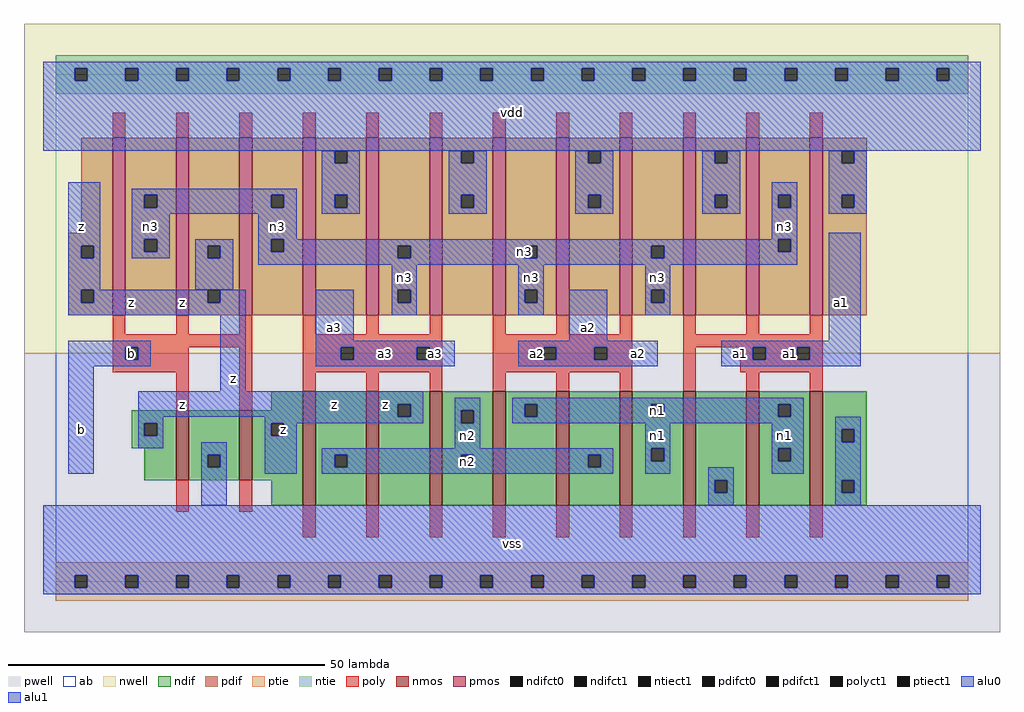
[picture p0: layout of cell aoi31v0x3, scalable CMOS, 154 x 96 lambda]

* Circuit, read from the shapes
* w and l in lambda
.subckt aoi31v0x3 a1 a2 a3 b n1 n2 n3 vdd vss z
M1 vss b z vss nfet w=11 l=2 m=2
M2 n2 a3 z vss nfet w=18 l=2 m=3
M3 n1 a2 n2 vss nfet w=18 l=2 m=3
M4 vss a1 n1 vss nfet w=18 l=2 m=3
M5 n3 b z vdd pfet w=28 l=2 m=3
M6 vdd a3 n3 vdd pfet w=28 l=2 m=3
M7 n3 a2 vdd vdd pfet w=28 l=2 m=3
M8 vdd a1 n3 vdd pfet w=28 l=2 m=3
.ends

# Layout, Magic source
magic
tech scmos
<< ab >>
rect 0 0 144 80
<< nwell >>
rect -5 36 149 88
<< pwell >>
rect -5 -8 149 36
<< poly >>
rect 9 70 11 74
rect 19 70 21 74
rect 29 70 31 74
rect 39 70 41 74
rect 49 70 51 74
rect 59 70 61 74
rect 69 70 71 74
rect 79 70 81 74
rect 89 70 91 74
rect 99 70 101 74
rect 109 70 111 74
rect 119 70 121 74
rect 9 39 11 42
rect 19 39 21 42
rect 29 39 31 42
rect 9 37 31 39
rect 9 35 11 37
rect 13 35 21 37
rect 9 33 21 35
rect 19 27 21 33
rect 29 27 31 37
rect 39 39 41 42
rect 49 39 51 42
rect 59 39 61 42
rect 39 37 61 39
rect 39 35 45 37
rect 47 35 57 37
rect 59 35 61 37
rect 39 33 61 35
rect 39 30 41 33
rect 49 30 51 33
rect 59 30 61 33
rect 69 39 71 42
rect 79 39 81 42
rect 89 39 91 42
rect 69 37 91 39
rect 69 35 77 37
rect 79 35 85 37
rect 87 35 91 37
rect 69 33 91 35
rect 69 30 71 33
rect 79 30 81 33
rect 89 30 91 33
rect 99 39 101 42
rect 109 39 111 42
rect 119 39 121 42
rect 99 37 121 39
rect 99 30 101 37
rect 108 35 110 37
rect 112 35 117 37
rect 119 35 121 37
rect 108 33 121 35
rect 109 30 111 33
rect 119 30 121 33
rect 19 11 21 16
rect 29 11 31 16
rect 39 7 41 12
rect 49 7 51 12
rect 59 7 61 12
rect 69 7 71 12
rect 79 7 81 12
rect 89 7 91 12
rect 99 7 101 12
rect 109 7 111 12
rect 119 7 121 12
<< ndif >>
rect 34 27 39 30
rect 12 25 19 27
rect 12 23 14 25
rect 16 23 19 25
rect 12 21 19 23
rect 14 16 19 21
rect 21 20 29 27
rect 21 18 24 20
rect 26 18 29 20
rect 21 16 29 18
rect 31 25 39 27
rect 31 23 34 25
rect 36 23 39 25
rect 31 16 39 23
rect 34 12 39 16
rect 41 20 49 30
rect 41 18 44 20
rect 46 18 49 20
rect 41 12 49 18
rect 51 28 59 30
rect 51 26 54 28
rect 56 26 59 28
rect 51 12 59 26
rect 61 27 69 30
rect 61 25 64 27
rect 66 25 69 27
rect 61 20 69 25
rect 61 18 64 20
rect 66 18 69 20
rect 61 12 69 18
rect 71 28 79 30
rect 71 26 74 28
rect 76 26 79 28
rect 71 12 79 26
rect 81 20 89 30
rect 81 18 84 20
rect 86 18 89 20
rect 81 12 89 18
rect 91 28 99 30
rect 91 26 94 28
rect 96 26 99 28
rect 91 21 99 26
rect 91 19 94 21
rect 96 19 99 21
rect 91 12 99 19
rect 101 16 109 30
rect 101 14 104 16
rect 106 14 109 16
rect 101 12 109 14
rect 111 28 119 30
rect 111 26 114 28
rect 116 26 119 28
rect 111 21 119 26
rect 111 19 114 21
rect 116 19 119 21
rect 111 12 119 19
rect 121 24 128 30
rect 121 22 124 24
rect 126 22 128 24
rect 121 16 128 22
rect 121 14 124 16
rect 126 14 128 16
rect 121 12 128 14
<< pdif >>
rect 4 55 9 70
rect 2 53 9 55
rect 2 51 4 53
rect 6 51 9 53
rect 2 46 9 51
rect 2 44 4 46
rect 6 44 9 46
rect 2 42 9 44
rect 11 61 19 70
rect 11 59 14 61
rect 16 59 19 61
rect 11 54 19 59
rect 11 52 14 54
rect 16 52 19 54
rect 11 42 19 52
rect 21 53 29 70
rect 21 51 24 53
rect 26 51 29 53
rect 21 46 29 51
rect 21 44 24 46
rect 26 44 29 46
rect 21 42 29 44
rect 31 61 39 70
rect 31 59 34 61
rect 36 59 39 61
rect 31 54 39 59
rect 31 52 34 54
rect 36 52 39 54
rect 31 42 39 52
rect 41 68 49 70
rect 41 66 44 68
rect 46 66 49 68
rect 41 61 49 66
rect 41 59 44 61
rect 46 59 49 61
rect 41 42 49 59
rect 51 53 59 70
rect 51 51 54 53
rect 56 51 59 53
rect 51 46 59 51
rect 51 44 54 46
rect 56 44 59 46
rect 51 42 59 44
rect 61 68 69 70
rect 61 66 64 68
rect 66 66 69 68
rect 61 61 69 66
rect 61 59 64 61
rect 66 59 69 61
rect 61 42 69 59
rect 71 53 79 70
rect 71 51 74 53
rect 76 51 79 53
rect 71 46 79 51
rect 71 44 74 46
rect 76 44 79 46
rect 71 42 79 44
rect 81 68 89 70
rect 81 66 84 68
rect 86 66 89 68
rect 81 61 89 66
rect 81 59 84 61
rect 86 59 89 61
rect 81 42 89 59
rect 91 53 99 70
rect 91 51 94 53
rect 96 51 99 53
rect 91 46 99 51
rect 91 44 94 46
rect 96 44 99 46
rect 91 42 99 44
rect 101 68 109 70
rect 101 66 104 68
rect 106 66 109 68
rect 101 61 109 66
rect 101 59 104 61
rect 106 59 109 61
rect 101 42 109 59
rect 111 61 119 70
rect 111 59 114 61
rect 116 59 119 61
rect 111 54 119 59
rect 111 52 114 54
rect 116 52 119 54
rect 111 42 119 52
rect 121 68 128 70
rect 121 66 124 68
rect 126 66 128 68
rect 121 61 128 66
rect 121 59 124 61
rect 126 59 128 61
rect 121 42 128 59
<< alu1 >>
rect -2 81 146 82
rect -2 79 3 81
rect 5 79 11 81
rect 13 79 19 81
rect 21 79 27 81
rect 29 79 35 81
rect 37 79 43 81
rect 45 79 51 81
rect 53 79 59 81
rect 61 79 67 81
rect 69 79 75 81
rect 77 79 83 81
rect 85 79 91 81
rect 93 79 99 81
rect 101 79 107 81
rect 109 79 115 81
rect 117 79 123 81
rect 125 79 131 81
rect 133 79 139 81
rect 141 79 146 81
rect -2 68 146 79
rect 2 53 7 63
rect 2 51 4 53
rect 6 51 7 53
rect 2 46 7 51
rect 2 44 4 46
rect 6 44 24 46
rect 26 44 30 46
rect 2 42 30 44
rect 2 37 15 38
rect 2 35 11 37
rect 13 35 15 37
rect 2 34 15 35
rect 2 17 6 34
rect 26 30 30 42
rect 41 38 47 46
rect 81 38 87 46
rect 122 38 127 55
rect 41 37 63 38
rect 41 35 45 37
rect 47 35 57 37
rect 59 35 63 37
rect 41 34 63 35
rect 73 37 95 38
rect 73 35 77 37
rect 79 35 85 37
rect 87 35 95 37
rect 73 34 95 35
rect 105 37 127 38
rect 105 35 110 37
rect 112 35 117 37
rect 119 35 127 37
rect 105 34 127 35
rect 13 28 58 30
rect 13 26 54 28
rect 56 26 58 28
rect 13 25 17 26
rect 13 23 14 25
rect 16 23 17 25
rect 13 21 17 23
rect 33 25 58 26
rect 33 23 34 25
rect 36 23 38 25
rect 33 17 38 23
rect -2 1 146 12
rect -2 -1 3 1
rect 5 -1 11 1
rect 13 -1 19 1
rect 21 -1 27 1
rect 29 -1 35 1
rect 37 -1 43 1
rect 45 -1 51 1
rect 53 -1 59 1
rect 61 -1 67 1
rect 69 -1 75 1
rect 77 -1 83 1
rect 85 -1 91 1
rect 93 -1 99 1
rect 101 -1 107 1
rect 109 -1 115 1
rect 117 -1 123 1
rect 125 -1 131 1
rect 133 -1 139 1
rect 141 -1 146 1
rect -2 -2 146 -1
<< ptie >>
rect 0 1 144 3
rect 0 -1 3 1
rect 5 -1 11 1
rect 13 -1 19 1
rect 21 -1 27 1
rect 29 -1 35 1
rect 37 -1 43 1
rect 45 -1 51 1
rect 53 -1 59 1
rect 61 -1 67 1
rect 69 -1 75 1
rect 77 -1 83 1
rect 85 -1 91 1
rect 93 -1 99 1
rect 101 -1 107 1
rect 109 -1 115 1
rect 117 -1 123 1
rect 125 -1 131 1
rect 133 -1 139 1
rect 141 -1 144 1
rect 0 -3 144 -1
<< ntie >>
rect 0 81 144 83
rect 0 79 3 81
rect 5 79 11 81
rect 13 79 19 81
rect 21 79 27 81
rect 29 79 35 81
rect 37 79 43 81
rect 45 79 51 81
rect 53 79 59 81
rect 61 79 67 81
rect 69 79 75 81
rect 77 79 83 81
rect 85 79 91 81
rect 93 79 99 81
rect 101 79 107 81
rect 109 79 115 81
rect 117 79 123 81
rect 125 79 131 81
rect 133 79 139 81
rect 141 79 144 81
rect 0 77 144 79
<< nmos >>
rect 19 16 21 27
rect 29 16 31 27
rect 39 12 41 30
rect 49 12 51 30
rect 59 12 61 30
rect 69 12 71 30
rect 79 12 81 30
rect 89 12 91 30
rect 99 12 101 30
rect 109 12 111 30
rect 119 12 121 30
<< pmos >>
rect 9 42 11 70
rect 19 42 21 70
rect 29 42 31 70
rect 39 42 41 70
rect 49 42 51 70
rect 59 42 61 70
rect 69 42 71 70
rect 79 42 81 70
rect 89 42 91 70
rect 99 42 101 70
rect 109 42 111 70
rect 119 42 121 70
<< polyct1 >>
rect 11 35 13 37
rect 45 35 47 37
rect 57 35 59 37
rect 77 35 79 37
rect 85 35 87 37
rect 110 35 112 37
rect 117 35 119 37
<< ndifct0 >>
rect 24 18 26 20
rect 44 18 46 20
rect 64 25 66 27
rect 64 18 66 20
rect 74 26 76 28
rect 84 18 86 20
rect 94 26 96 28
rect 94 19 96 21
rect 104 14 106 16
rect 114 26 116 28
rect 114 19 116 21
rect 124 22 126 24
rect 124 14 126 16
<< ndifct1 >>
rect 14 23 16 25
rect 34 23 36 25
rect 54 26 56 28
<< ntiect1 >>
rect 3 79 5 81
rect 11 79 13 81
rect 19 79 21 81
rect 27 79 29 81
rect 35 79 37 81
rect 43 79 45 81
rect 51 79 53 81
rect 59 79 61 81
rect 67 79 69 81
rect 75 79 77 81
rect 83 79 85 81
rect 91 79 93 81
rect 99 79 101 81
rect 107 79 109 81
rect 115 79 117 81
rect 123 79 125 81
rect 131 79 133 81
rect 139 79 141 81
<< ptiect1 >>
rect 3 -1 5 1
rect 11 -1 13 1
rect 19 -1 21 1
rect 27 -1 29 1
rect 35 -1 37 1
rect 43 -1 45 1
rect 51 -1 53 1
rect 59 -1 61 1
rect 67 -1 69 1
rect 75 -1 77 1
rect 83 -1 85 1
rect 91 -1 93 1
rect 99 -1 101 1
rect 107 -1 109 1
rect 115 -1 117 1
rect 123 -1 125 1
rect 131 -1 133 1
rect 139 -1 141 1
<< pdifct0 >>
rect 14 59 16 61
rect 14 52 16 54
rect 24 51 26 53
rect 34 59 36 61
rect 34 52 36 54
rect 44 66 46 68
rect 44 59 46 61
rect 54 51 56 53
rect 54 44 56 46
rect 64 66 66 68
rect 64 59 66 61
rect 74 51 76 53
rect 74 44 76 46
rect 84 66 86 68
rect 84 59 86 61
rect 94 51 96 53
rect 94 44 96 46
rect 104 66 106 68
rect 104 59 106 61
rect 114 59 116 61
rect 114 52 116 54
rect 124 66 126 68
rect 124 59 126 61
<< pdifct1 >>
rect 4 51 6 53
rect 4 44 6 46
rect 24 44 26 46
<< alu0 >>
rect 42 66 44 68
rect 46 66 48 68
rect 12 61 38 62
rect 12 59 14 61
rect 16 59 34 61
rect 36 59 38 61
rect 12 58 38 59
rect 42 61 48 66
rect 42 59 44 61
rect 46 59 48 61
rect 42 58 48 59
rect 62 66 64 68
rect 66 66 68 68
rect 62 61 68 66
rect 62 59 64 61
rect 66 59 68 61
rect 62 58 68 59
rect 82 66 84 68
rect 86 66 88 68
rect 82 61 88 66
rect 82 59 84 61
rect 86 59 88 61
rect 82 58 88 59
rect 102 66 104 68
rect 106 66 108 68
rect 102 61 108 66
rect 122 66 124 68
rect 126 66 128 68
rect 102 59 104 61
rect 106 59 108 61
rect 102 58 108 59
rect 113 61 117 63
rect 113 59 114 61
rect 116 59 117 61
rect 12 54 18 58
rect 32 54 38 58
rect 113 54 117 59
rect 122 61 128 66
rect 122 59 124 61
rect 126 59 128 61
rect 122 58 128 59
rect 12 52 14 54
rect 16 52 18 54
rect 12 51 18 52
rect 22 53 28 54
rect 22 51 24 53
rect 26 51 28 53
rect 22 46 28 51
rect 32 52 34 54
rect 36 53 114 54
rect 36 52 54 53
rect 32 51 54 52
rect 56 51 74 53
rect 76 51 94 53
rect 96 52 114 53
rect 116 52 117 54
rect 96 51 117 52
rect 32 50 117 51
rect 53 46 57 50
rect 53 44 54 46
rect 56 44 57 46
rect 53 42 57 44
rect 73 46 77 50
rect 93 46 97 50
rect 73 44 74 46
rect 76 44 77 46
rect 73 42 77 44
rect 93 44 94 46
rect 96 44 97 46
rect 93 42 97 44
rect 63 27 67 29
rect 63 25 64 27
rect 66 25 67 27
rect 72 28 118 29
rect 72 26 74 28
rect 76 26 94 28
rect 96 26 114 28
rect 116 26 118 28
rect 72 25 118 26
rect 23 20 27 22
rect 23 18 24 20
rect 26 18 27 20
rect 23 12 27 18
rect 63 21 67 25
rect 93 21 97 25
rect 42 20 88 21
rect 42 18 44 20
rect 46 18 64 20
rect 66 18 84 20
rect 86 18 88 20
rect 42 17 88 18
rect 93 19 94 21
rect 96 19 97 21
rect 93 17 97 19
rect 113 21 118 25
rect 113 19 114 21
rect 116 19 118 21
rect 103 16 107 18
rect 113 17 118 19
rect 123 24 127 26
rect 123 22 124 24
rect 126 22 127 24
rect 103 14 104 16
rect 106 14 107 16
rect 103 12 107 14
rect 123 16 127 22
rect 123 14 124 16
rect 126 14 127 16
rect 123 12 127 14
<< labels >>
rlabel alu0 15 56 15 56 6 n3
rlabel alu0 55 48 55 48 6 n3
rlabel alu0 35 56 35 56 6 n3
rlabel alu0 65 23 65 23 6 n2
rlabel alu0 75 48 75 48 6 n3
rlabel ndifct0 65 19 65 19 6 n2
rlabel alu0 95 23 95 23 6 n1
rlabel alu0 95 48 95 48 6 n3
rlabel alu0 115 23 115 23 6 n1
rlabel ndifct0 95 27 95 27 6 n1
rlabel alu0 115 56 115 56 6 n3
rlabel alu0 74 52 74 52 6 n3
rlabel alu1 28 32 28 32 6 z
rlabel polyct1 12 36 12 36 6 b
rlabel alu1 4 24 4 24 6 b
rlabel alu1 20 28 20 28 6 z
rlabel alu1 12 44 12 44 6 z
rlabel alu1 20 44 20 44 6 z
rlabel alu1 4 56 4 56 6 z
rlabel alu1 36 24 36 24 6 z
rlabel alu1 60 36 60 36 6 a3
rlabel alu1 52 36 52 36 6 a3
rlabel alu1 52 28 52 28 6 z
rlabel alu1 44 28 44 28 6 z
rlabel alu1 44 40 44 40 6 a3
rlabel alu1 72 6 72 6 6 vss
rlabel alu1 76 36 76 36 6 a2
rlabel alu1 92 36 92 36 6 a2
rlabel alu1 84 40 84 40 6 a2
rlabel alu1 72 74 72 74 6 vdd
rlabel alu1 108 36 108 36 6 a1
rlabel alu1 116 36 116 36 6 a1
rlabel alu1 124 44 124 44 6 a1
<< end >>
